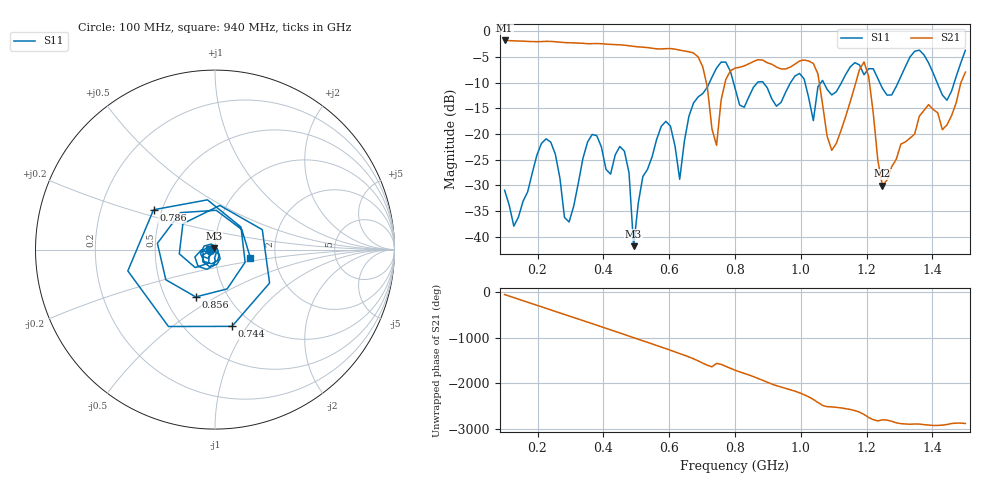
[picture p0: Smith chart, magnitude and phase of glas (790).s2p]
! NanoVNA-App
! Date: 2025-09-25 16:01:37
! Start: 100MHz Stop: 1,5GHz Points: 101
! S-Parameter data: F S11 S21 S12 S22
# Hz S RI R 50
!  Frequency  S11_Real  S11_Imag  S21_Real  S21_Imag  S12_Real  S12_Imag  S22_Real  S22_Imag
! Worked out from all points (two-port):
!   101 points, 100 MHz to 1.5 GHz, reference 50 ohm
!   highest |S21| = -1.80 dB at 100 MHz (marker M1); lowest = -30.1 dB at 1.248 GHz (marker M2)
!   |S21| within 3 dB of the highest: start of sweep to 684.4 MHz
!   lowest |S11| = -41.8 dB at 492 MHz (marker M3), VSWR 1.02, Z = 49.5 + j0.628 ohm
!   |S11| at or under -10 dB: start of sweep to 722.4 MHz; 795.5 MHz to 868.1 MHz (72.62 MHz wide, 8.73 % of centre); 886.1 MHz to 968.8 MHz (82.66 MHz wide, 8.91 % of centre) (the widest 3 of 7)
!   S12 and S22 are empty: the file has one direction only
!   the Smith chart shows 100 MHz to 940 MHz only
!   S11 on the Smith chart (normalised r, x): 100 MHz: 0.94, -0.01; 744 MHz: 0.81, -0.85; 786 MHz: 0.45, +0.24; 856 MHz: 0.71, -0.41; 940 MHz: 1.48, -0.15
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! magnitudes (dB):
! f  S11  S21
! 100 MHz  -30.9  -1.8
! 128 MHz  -37.9  -1.9
! 226 MHz  -20.9  -2.0
! 296 MHz  -37.1  -2.2
! 338 MHz  -24.7  -2.3
! 464 MHz  -23.3  -2.7
! 492 MHz  -41.8  -3.0
! 576 MHz  -18.5  -3.5
! 632 MHz  -28.8  -3.7
! 702 MHz  -12.1  -6.9
! 744 MHz  -7.2  -22.2
! 786 MHz  -7.8  -7.7
! 800 MHz  -11.0  -7.2
! 856 MHz  -10.9  -5.9
! 940 MHz  -13.8  -7.3
! 996 MHz  -8.2  -5.8
! 1.038 GHz  -17.4  -6.3
! 1.094 GHz  -12.4  -23.2
! 1.192 GHz  -8.5  -6.0
! 1.248 GHz  -11.1  -30.1
! 1.276 GHz  -12.4  -26.4
! 1.5 GHz  -3.7  -8.0
